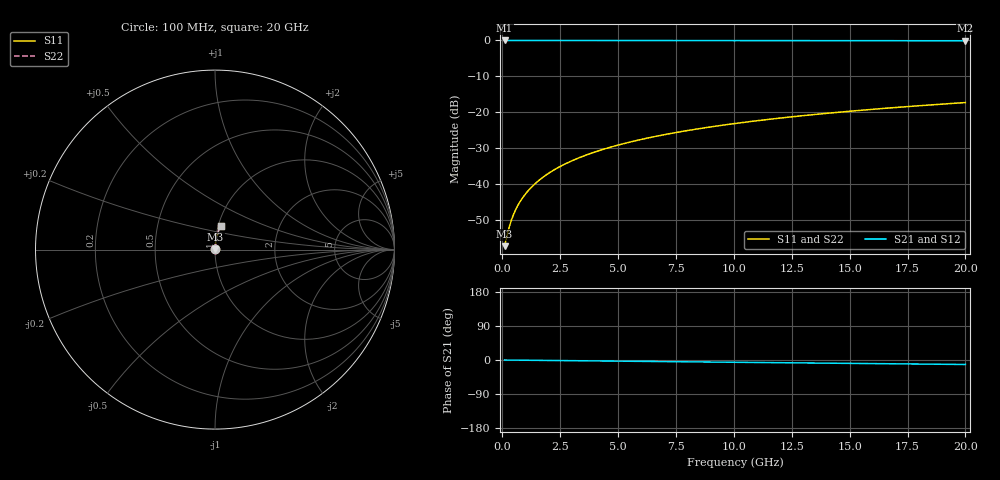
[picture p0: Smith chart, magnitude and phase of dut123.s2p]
! Touchstone file exported from HFSS 2026.1.0
!  File:  C:/ffzhzh/LocalFiles/Ansys_Project_Files/temp_train_BSMRDL_123_1782986074_40604.aedt
!  Generated:  05:55:53 PM Jul  2, 2026
!  Design:  BSMRDL
!  Project:  temp_train_BSMRDL_123_1782986074_40604
! Variables:
!  h_bsmrdl = 2.08um
!  h_ox = 20um
!  h_rdl = 5um
!  h_sub = 80um
!  h_tmrdl = 5um
!  h_tsv = 80um
!  h_via = 3um
!  l_bsmrdl = 107.75um
!  l_sub = 507.75um
!  l_tmrdl = 200um
!  m_sub = 200um
!  pitch = 59.07um
!  r_tsv = 6um
!  s_tmrdl = 10um
!  w_bsmrdl = 27.08um
!  w_sub = 500um
!  w_tmrdl = 12um
!  x_tsv_center1 = 206um
!  x_tsv_center2 = 340.83um
!  x_tsv_center3 = 552.83um
!  x_tsv_center4 = 687.66um
!  x_tsv_center5 = 899.66um
!  x_tsv_center6 = 1034.49um
# GHz S MA R 50.000000
! Terminal data exported
! Port[1] = BSM_RDL1_1_T1
! Port[2] = BSM_RDL1_1_T2
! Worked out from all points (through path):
!   200 points, 100 MHz to 20 GHz, reference 50 ohm
!   highest |S21| = -0.01 dB at 100 MHz (marker M1); lowest = -0.1 dB at 20 GHz (marker M2)
!   group delay of S21, straight-line fit = 1.64 ps
!   lowest |S11| = -57.2 dB at 100 MHz (marker M3), VSWR 1.00, Z = 50.1 + j0.0757 ohm
!   |S11| at or under -10 dB: start of sweep to end of sweep
!   |S22| runs from -57.2 to -17.3 dB; largest |S21 - S12| = 2e-15
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0.1  0.001378 33.3  0.9988 -0.1  0.9988 -0.1  0.001378 33.3
! Gamma 0 0 0 0
! Port Impedance 50 0 50 0
0.2  0.00191 51.9  0.9988 -0.1  0.9988 -0.1  0.00191 51.9
0.3  0.002549 61.6  0.9988 -0.2  0.9988 -0.2  0.002549 61.6
0.4  0.003221 67.0  0.9988 -0.2  0.9988 -0.2  0.003221 67.0
0.5  0.003903 70.6  0.9987 -0.3  0.9987 -0.3  0.003903 70.6
0.6  0.004587 73.0  0.9987 -0.4  0.9987 -0.4  0.004587 73.0
0.8  0.005955 76.2  0.9986 -0.5  0.9986 -0.5  0.005955 76.2
1.1  0.008008 79.1  0.9985 -0.7  0.9985 -0.7  0.008008 79.1
1.3  0.009381 80.3  0.9985 -0.8  0.9985 -0.8  0.009381 80.3
1.6  0.01145 81.6  0.9985 -1.0  0.9985 -1.0  0.01145 81.6
2.1  0.0149 82.9  0.9984 -1.3  0.9984 -1.3  0.0149 82.9
2.7  0.01907 83.7  0.9983 -1.6  0.9983 -1.6  0.01907 83.7
3.5  0.02463 84.2  0.9981 -2.1  0.9981 -2.1  0.02463 84.2
4.2  0.0295 84.3  0.9979 -2.5  0.9979 -2.5  0.0295 84.3
5  0.03506 84.3  0.9977 -3.0  0.9977 -3.0  0.03506 84.3
5.9  0.04131 84.1  0.9974 -3.5  0.9974 -3.5  0.04131 84.1
6.8  0.04755 83.8  0.9971 -4.1  0.9971 -4.1  0.04755 83.8
8.3  0.05791 83.1  0.9964 -5.0  0.9964 -5.0  0.05791 83.1
10.1  0.07028 82.3  0.9955 -6.0  0.9955 -6.0  0.07028 82.3
13.4  0.09275 80.6  0.9933 -8.0  0.9933 -8.0  0.09275 80.6
16.7  0.1149 78.7  0.9907 -9.9  0.9907 -9.9  0.1149 78.7
20  0.1367 76.9  0.9876 -11.8  0.9876 -11.8  0.1367 76.9
